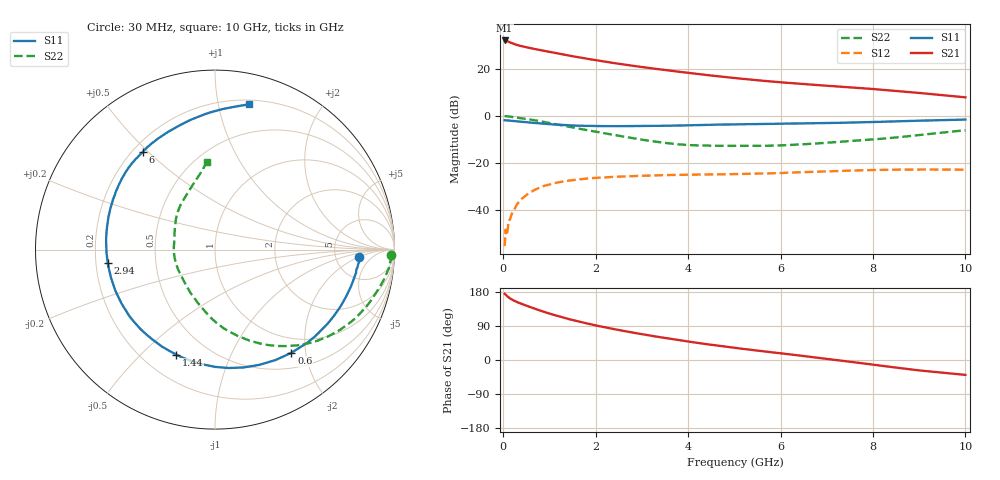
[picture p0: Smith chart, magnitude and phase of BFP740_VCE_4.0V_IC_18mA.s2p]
! Infineon Technologies  Discrete & RF Semiconductors
! BFP740
! VCE =  4.0 V,  IC =  18 mA
! Common Emitter S-Parameters:  Jan 2016
# GHz  S  MA  R  50
!  f  S11  S21  S12  S22
! GHz  MAG  ANG  MAG  ANG  MAG  ANG  MAG  ANG
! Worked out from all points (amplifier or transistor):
!   229 points, 30 MHz to 10 GHz, reference 50 ohm
!   highest |S21| = 32.0 dB at 30 MHz (marker M1)
!   |S21| within 3 dB of that: start of sweep to 522 MHz
!   unconditionally stable (mu >= 1): 6.638 GHz to end of sweep
!   at 280 MHz: K = 0.25, MSG = 34.2 dB, |S12| = -38.3 dB
!   at 1.78 GHz: K = 0.42, MSG = 25.5 dB, |S12| = -26.7 dB
!   at 10 GHz: K = 1.02, MAG = 14.5 dB, |S12| = -22.9 dB
!   S11 on the Smith chart (normalised r, x): 30 MHz: 8.69, -1.99; 600 MHz: 0.74, -1.74; 1.44 GHz: 0.34, -0.64; 2.94 GHz: 0.25, -0.06; 6 GHz: 0.24, +0.48; 10 GHz: 0.24, +1.23
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0.03  0.803 -2.9  39.71 174.9  0.0017 58.0  0.9795 -1.7
0.05  0.8051 -5.0  39.35 172.7  0.0038 83.3  0.9827 -3.3
0.08  0.7956 -8.0  38.55 169.0  0.0029 67.2  0.9739 -5.3
0.12  0.79 -12.2  37.09 164.9  0.0055 79.3  0.9644 -8.1
0.2  0.776 -19.7  34.43 158.7  0.009 74.6  0.9412 -12.9
0.28  0.7624 -26.8  32.26 154.0  0.0122 74.5  0.9189 -17.1
0.36  0.7502 -33.7  30.59 149.9  0.0154 70.5  0.8974 -21.2
0.6  0.7153 -53.5  27.1 139.0  0.0242 61.8  0.8278 -32.7
0.9  0.6758 -76.3  23.79 126.3  0.0327 51.9  0.7332 -45.6
1.18  0.6443 -94.9  21 115.9  0.0383 44.3  0.6481 -56.1
1.44  0.6234 -110.2  18.82 107.3  0.0422 38.7  0.5793 -64.5
1.7  0.611 -123.9  16.97 99.5  0.0452 33.9  0.5183 -72.2
2.2  0.6017 -146.4  14.09 86.1  0.0491 26.3  0.423 -86.5
2.56  0.5995 -159.9  12.45 77.8  0.0512 22.4  0.3674 -95.7
2.94  0.6019 -172.8  11.03 69.5  0.0528 18.9  0.3172 -106.4
3.4  0.6101 173.5  9.622 60.1  0.0544 15.1  0.2737 -120.9
4.2  0.6334 153.7  7.727 45.2  0.0563 10.2  0.2346 -148.7
5.1  0.6607 137.8  6.189 30.7  0.0581 6.3  0.2294 -174.6
6  0.6766 126.6  5.14 17.7  0.0608 3.5  0.2345 165.1
6.8  0.6956 117.0  4.484 6.1  0.0647 0.1  0.2584 149.3
8.4  0.7556 94.5  3.434 -18.5  0.0714 -9.8  0.3383 119.1
10  0.8299 77.0  2.462 -39.3  0.0716 -18.6  0.4909 95.3
